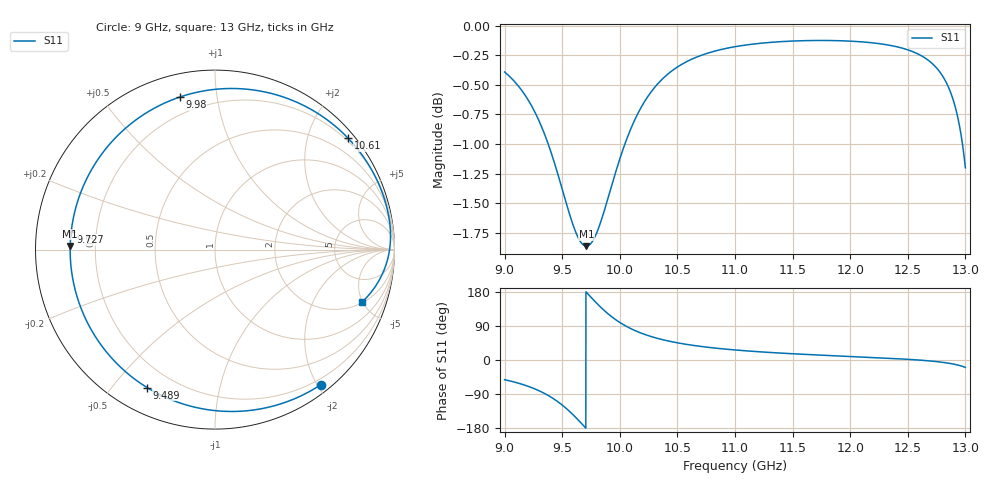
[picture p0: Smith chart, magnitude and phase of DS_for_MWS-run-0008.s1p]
! TOUCHSTONE file generated by CST DESIGN STUDIO
! Date and time: Tue Feb  4 17:14:02 2025
! Project name: C:\Work\MatlabApps\UnitCellOptimizationMatlab\CST\unitcell.cst
! Tree item: Tasks\Sweep1\SPara1\S-Parameters
! Header version: 2024
! Port assignment regex: !\s*Touchstone port\s*([0-9]+)\s*=\s*(CST MWS port|CST DES external port|CST DES block port)\s*(.+)\s* \(\"(.*)\"\)(\s*mode\s*([0-9]+))?.*
! Touchstone port assignment:
! Touchstone port 1 = CST DES external port 1 ("")
# GHz S MA R 50
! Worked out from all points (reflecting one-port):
!   4001 points, 9 GHz to 13 GHz, reference 50 ohm
!   lowest |S11| = -1.9 dB at 9.71 GHz (marker M1), VSWR 9.36, Z = 5.34 + j0.6 ohm
!   phase of S11 starts at -52 deg and turns -328 deg over the sweep
!   S11 on the Smith chart (normalised r, x): 9 GHz: 0.12, -2.05; 9.489 GHz: 0.11, -0.62; 9.727 GHz: 0.11, +0.06; 9.98 GHz: 0.11, +0.79; 10.61 GHz: 0.14, +2.74; 13 GHz: 2.08, -4.99
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9  0.956 -52.0
9.129  0.9417 -62.0
9.252  0.9216 -74.9
9.385  0.8894 -94.7
9.489  0.8567 -116.2
9.5  0.8531 -118.9
9.559  0.834 -134.3
9.619  0.8177 -152.0
9.666  0.8096 -166.9
9.71  0.807 178.6
9.727  0.8074 173.0
9.787  0.8149 153.6
9.857  0.8328 132.8
9.917  0.8519 117.1
9.98  0.8723 103.1
10  0.8785 99.1
10.112  0.9085 80.4
10.226  0.9307 66.4
10.353  0.9477 55.0
10.5  0.9606 45.3
10.605  0.967 40.0
11  0.9798 26.5
11.5  0.9852 16.5
12  0.9851 9.3
12.5  0.9768 1.8
12.83  0.9471 -7.3
12.921  0.9204 -12.3
13  0.8709 -19.5
